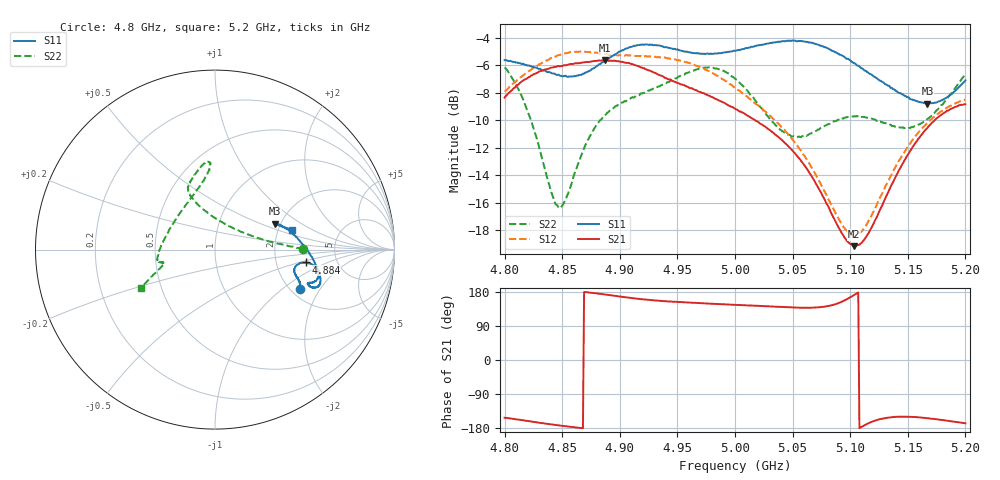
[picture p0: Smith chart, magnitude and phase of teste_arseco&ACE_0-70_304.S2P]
! Network Analyzer HP8722D
! Hewlett-Packard
! Data name: Linha & Wilkinson
! Saver's name: Rodrigo Anjos
! Comments: Teste da utilização de aquisição
! continua pelo VNA HP8722D
! Time and date: 8/5/2025 15:17
!  Frequency  S11  S21  S12  S22
# HZ  S  MA R 50
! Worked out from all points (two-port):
!   401 points, 4.8 GHz to 5.2 GHz, reference 50 ohm
!   highest |S21| = -5.64 dB at 4.887 GHz (marker M1); lowest = -19.2 dB at 5.103 GHz (marker M2)
!   |S21| within 3 dB of the highest: start of sweep to 4.988 GHz
!   lowest |S11| = -8.8 dB at 5.167 GHz (marker M3), VSWR 2.14, Z = 93.4 + j31 ohm
!   |S11| at or under -10 dB: nowhere
!   |S22| runs from -16.4 to -6.2 dB; largest |S21 - S12| = 1.1
!   S11 on the Smith chart (normalised r, x): 4.8 GHz: 2.24, -1.36; 4.884 GHz: 2.97, -0.57; 5.2 GHz: 2.36, +0.65
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4.8e9  0.523 -24.9  0.3819 -152.4  0.4024 7.1  0.4918 0.5
4.818e9  0.5019 -20.9  0.4453 -160.1  0.4676 4.3  0.358 5.2
4.84e9  0.4711 -17.7  0.4905 -169.9  0.532 1.1  0.1753 34.4
4.846e9  0.4621 -16.0  0.4973 -172.1  0.5437 -0.3  0.1543 55.6
4.853e9  0.4589 -14.6  0.5003 -174.7  0.5544 -1.3  0.1617 80.7
4.867e9  0.4633 -10.6  0.5119 -179.8  0.5599 -3.6  0.2378 107.0
4.884e9  0.5109 -8.0  0.5214 174.1  0.553 -4.4  0.3185 114.3
4.887e9  0.5192 -8.4  0.5226 172.9  0.5512 -4.2  0.3297 114.6
4.91e9  0.5844 -11.5  0.5063 163.8  0.543 -3.7  0.3809 113.4
4.934e9  0.5914 -16.9  0.4623 156.1  0.5371 -4.4  0.4187 107.1
4.973e9  0.5517 -19.9  0.396 149.4  0.487 -7.8  0.4905 95.4
5e9  0.566 -21.0  0.3482 145.6  0.4161 -7.8  0.448 94.3
5.041e9  0.6125 -19.0  0.267 139.9  0.2971 0.2  0.2881 128.3
5.067e9  0.6038 -14.2  0.1961 138.2  0.2112 8.4  0.2845 165.4
5.092e9  0.5461 -5.2  0.1239 152.8  0.1336 31.9  0.3202 -174.3
5.103e9  0.5103 0.0  0.11 170.7  0.1204 52.6  0.3255 -170.0
5.114e9  0.476 5.6  0.1191 -169.8  0.1312 73.9  0.3235 -168.0
5.134e9  0.4212 15.8  0.1766 -151.7  0.1934 94.1  0.3038 -166.5
5.151e9  0.3818 21.7  0.2399 -149.8  0.2568 98.5  0.2962 -164.9
5.167e9  0.3632 23.3  0.296 -153.6  0.3089 99.1  0.3195 -161.9
5.183e9  0.3801 20.7  0.3391 -159.7  0.3487 99.1  0.3739 -157.6
5.2e9  0.4412 14.6  0.3611 -167.0  0.3763 99.7  0.4649 -152.4
